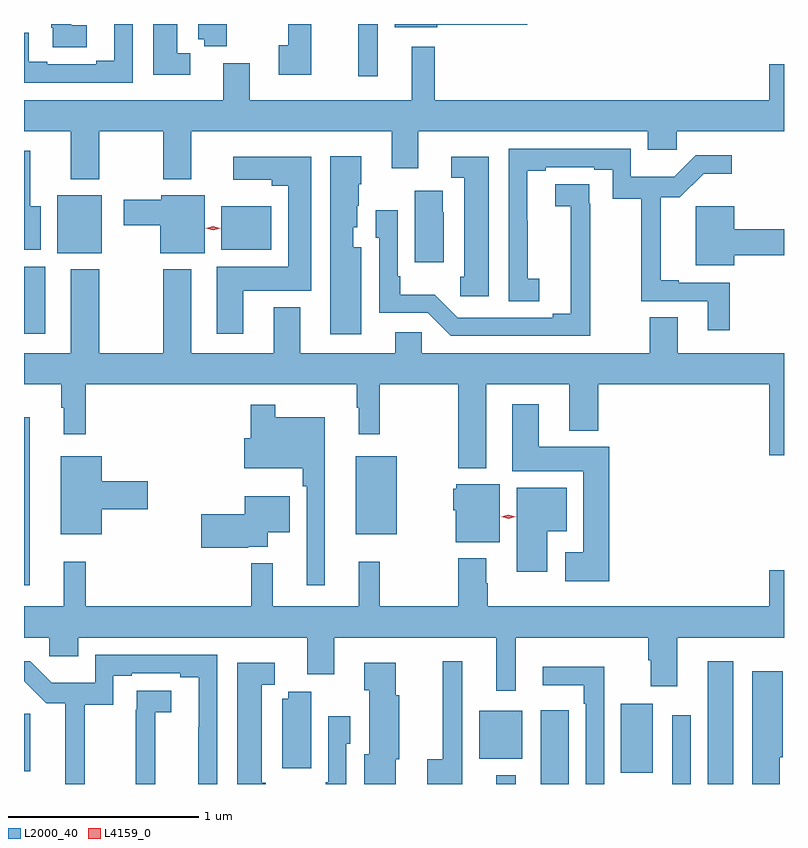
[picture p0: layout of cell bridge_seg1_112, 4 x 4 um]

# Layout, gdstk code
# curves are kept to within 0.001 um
import gdstk
lib = gdstk.Library(unit=1e-6, precision=1e-09)
def R(c, l, rs):  # rectangles x0, y0, x1, y1
    for r in rs: c.add(gdstk.rectangle(r[:2], r[2:], *l))
def P(c, l, *ps):  # polygons
    for p in ps: c.add(gdstk.Polygon(p, *l))
L2000_40 = (2000, 40)
L4159_0 = (4159, 0)

bridge_seg1_112 = lib.new_cell('bridge_seg1_112')
R(bridge_seg1_112, L2000_40, [(127.607,544.301,127.711,544.348), (127.841,544.301,127.99,544.69), (128.535,544.301,128.631,544.663), (128.72,544.301,128.854,544.948), (128.264,544.36,128.431,544.723), (125.122,544.367,125.155,544.672), (127.517,544.433,127.744,544.687), (125.122,545.346,125.152,546.232), (126.869,545.615,127.084,546.025), (125.122,546.672,125.233,547.024), (125.297,547.094,125.53,547.399), (126.161,547.112,126.424,547.342), (126.881,548.025,126.985,548.301)])
P(bridge_seg1_112, L2000_40, [(126.634,548.301),(126.512,548.301),(126.512,548.19),(126.462,548.19),(126.462,548.034),(126.634,548.034)],
  [(127.296,548.296),(127.771,548.296),(127.771,548.301),(127.073,548.301),(127.073,548.285),(127.296,548.285)],
  [(125.452,548.294),(125.37,548.294),(125.37,548.301),(125.266,548.301),(125.266,548.281),(125.272,548.281),(125.272,548.179),(125.452,548.179)],
  [(125.694,548.301),(125.597,548.301),(125.597,548.108),(125.501,548.108),(125.501,548.088),(125.245,548.088),(125.245,548.102),(125.148,548.102),(125.148,548.255),(125.122,548.255),(125.122,547.992),(125.694,547.992)],
  [(126.19,548.301),(126.038,548.301),(126.038,548.222),(126.07,548.222),(126.07,548.185),(126.19,548.185)],
  [(125.998,548.148),(125.929,548.148),(125.929,548.301),(125.801,548.301),(125.801,548.033),(125.998,548.033)],
  [(125.517,547.736),(125.854,547.736),(125.854,547.484),(126.001,547.484),(126.001,547.736),(127.058,547.736),(127.058,547.542),(127.198,547.542),(127.198,547.736),(128.405,547.736),(128.405,547.638),(128.557,547.638),(128.557,547.736),(129.122,547.736),(129.122,548.089),(129.044,548.089),(129.044,547.9),(127.285,547.9),(127.285,548.182),(127.163,548.182),(127.163,547.9),(126.31,547.9),(126.31,548.095),(126.17,548.095),(126.17,547.9),(125.122,547.9),(125.122,547.736),(125.369,547.736),(125.369,547.484),(125.517,547.484)],
  [(128.837,546.939),(128.569,546.939),(128.569,546.952),(128.474,546.952),(128.474,547.389),(128.573,547.389),(128.699,547.514),(128.848,547.514),(128.848,547.611),(128.658,547.611),(128.545,547.498),(128.316,547.498),(128.316,547.644),(127.674,547.644),(127.674,546.841),(127.834,546.841),(127.834,546.961),(127.773,546.961),(127.773,547.265),(127.771,547.265),(127.771,547.528),(127.867,547.528),(127.867,547.548),(128.123,547.548),(128.123,547.534),(128.22,547.534),(128.22,547.381),(128.371,547.381),(128.371,546.843),(128.72,546.843),(128.72,546.69),(128.837,546.69)],
  [(125.209,547.342),(125.155,547.342),(125.155,547.633),(125.122,547.633),(125.122,547.112),(125.209,547.112)],
  [(126.898,547.126),(126.856,547.126),(126.856,547.23),(126.877,547.23),(126.877,547.344),(126.885,547.344),(126.885,547.458),(126.898,547.458),(126.898,547.606),(126.734,547.606),(126.734,546.669),(126.898,546.669)],
  [(126.277,546.896),(126.634,546.896),(126.634,547.603),(126.222,547.603),(126.222,547.481),(126.425,547.481),(126.425,547.451),(126.512,547.451),(126.512,547.024),(126.137,547.024),(126.137,546.672),(126.277,546.672)],
  [(127.567,547.603),(127.371,547.603),(127.371,547.491),(127.439,547.491),(127.439,546.972),(127.417,546.972),(127.417,546.867),(127.567,546.867)],
  [(128.102,547.355),(128.096,547.355),(128.096,547.457),(127.917,547.457),(127.917,547.342),(127.999,547.342),(128,546.776),(127.904,546.776),(127.904,546.756),(127.404,546.756),(127.283,546.877),(127.102,546.877),(127.102,546.973),(127.089,546.973),(127.089,547.321),(126.972,547.321),(126.972,547.176),(126.993,547.176),(126.993,546.78),(127.248,546.78),(127.368,546.66),(128.102,546.66)],
  [(127.33,547.31),(127.327,547.31),(127.327,547.423),(127.178,547.423),(127.178,547.047),(127.33,547.047)],
  [(126.073,547.399),(125.844,547.399),(125.844,547.375),(125.646,547.375),(125.646,547.241),(125.84,547.241),(125.84,547.094),(126.073,547.094)],
  [(128.86,547.084),(129.122,547.084),(129.122,547.22),(128.86,547.22),(128.86,547.341),(128.657,547.341),(128.657,547.031),(128.86,547.031)],
  [(127.555,546.404),(127.991,546.404),(127.991,546.161),(128.144,546.161),(128.144,546.404),(129.044,546.404),(129.044,546.03),(129.122,546.03),(129.122,546.568),(128.563,546.568),(128.563,546.758),(128.416,546.758),(128.416,546.568),(127.215,546.568),(127.215,546.678),(127.076,546.678),(127.076,546.568),(126.577,546.568),(126.577,546.811),(126.437,546.811),(126.437,546.568),(126.001,546.568),(126.001,547.009),(125.854,547.009),(125.854,546.568),(125.517,546.568),(125.517,547.009),(125.369,547.009),(125.369,546.568),(125.122,546.568),(125.122,546.404),(125.319,546.404),(125.319,546.281),(125.33,546.281),(125.33,546.141),(125.447,546.141),(125.447,546.404),(126.873,546.404),(126.873,546.281),(126.884,546.281),(126.884,546.141),(126.994,546.141),(126.994,546.404),(127.408,546.404),(127.408,545.963),(127.555,545.963)],
  [(128.201,546.076),(127.831,546.076),(127.831,546.301),(127.691,546.301),(127.691,545.948),(128.066,545.948),(128.066,545.521),(127.971,545.521),(127.971,545.369),(128.201,545.369)],
  [(126.706,546.232),(126.445,546.232),(126.445,546.298),(126.316,546.298),(126.316,546.121),(126.282,546.121),(126.282,545.963),(126.589,545.963),(126.589,545.867),(126.609,545.867),(126.609,545.346),(126.706,545.346)],
  [(125.53,545.747),(125.773,545.747),(125.773,545.894),(125.53,545.894),(125.53,546.025),(125.315,546.025),(125.315,545.615),(125.53,545.615)],
  [(127.627,545.878),(127.398,545.878),(127.398,545.856),(127.382,545.856),(127.382,545.742),(127.394,545.742),(127.394,545.573),(127.627,545.573)],
  [(127.876,545.63),(127.978,545.63),(127.978,545.86),(127.715,545.86),(127.715,545.418),(127.876,545.418)],
  [(126.302,545.549),(126.406,545.549),(126.406,545.627),(126.52,545.627),(126.52,545.815),(126.284,545.815),(126.284,545.72),(126.054,545.72),(126.054,545.544),(126.302,545.544)],
  [(127.563,545.357),(127.555,545.357),(127.555,545.488),(127.408,545.488),(127.408,545.236),(126.994,545.236),(126.994,545.47),(126.884,545.47),(126.884,545.236),(126.431,545.236),(126.431,545.464),(126.317,545.464),(126.317,545.236),(125.447,545.236),(125.447,545.47),(125.33,545.47),(125.33,545.236),(125.122,545.236),(125.122,545.072),(125.256,545.072),(125.256,544.974),(125.407,544.974),(125.407,545.072),(126.614,545.072),(126.614,544.878),(126.754,544.878),(126.754,545.072),(127.607,545.072),(127.607,544.791),(127.711,544.791),(127.711,545.072),(128.408,545.072),(128.408,544.952),(128.42,544.952),(128.42,544.815),(128.56,544.815),(128.56,545.072),(129.122,545.072),(129.122,545.425),(129.044,545.425),(129.044,545.236),(127.563,545.236)],
  [(125.441,544.717),(125.592,544.717),(125.592,544.87),(125.689,544.87),(125.689,544.884),(125.945,544.884),(125.945,544.864),(126.041,544.864),(126.04,544.301),(126.138,544.301),(126.138,544.98),(125.496,544.98),(125.496,544.834),(125.267,544.834),(125.154,544.947),(125.122,544.947),(125.122,544.841),(125.239,544.725),(125.339,544.725),(125.339,544.301),(125.441,544.301)],
  [(127.429,544.948),(127.325,544.948),(127.325,544.432),(127.244,544.432),(127.244,544.301),(127.429,544.301)],
  [(126.395,544.308),(126.373,544.308),(126.373,544.824),(126.442,544.824),(126.442,544.939),(126.245,544.939),(126.245,544.301),(126.395,544.301)],
  [(127.078,544.431),(127.096,544.431),(127.096,544.767),(127.078,544.767),(127.078,544.939),(126.914,544.939),(126.914,544.794),(126.938,544.794),(126.938,544.458),(126.914,544.458),(126.914,544.301),(127.078,544.301)],
  [(128.175,544.918),(127.851,544.918),(127.851,544.82),(128.067,544.82),(128.067,544.724),(128.079,544.724),(128.079,544.301),(128.175,544.301)],
  [(129.1,544.442),(129.115,544.442),(129.115,544.894),(128.954,544.894),(128.954,544.301),(129.1,544.301)],
  [(125.812,544.395),(125.814,544.395),(125.814,544.678),(125.896,544.678),(125.896,544.793),(125.716,544.793),(125.716,544.691),(125.71,544.691),(125.71,544.301),(125.812,544.301)],
  [(126.634,544.787),(126.514,544.787),(126.514,544.75),(126.482,544.75),(126.482,544.383),(126.634,544.383)],
  [(126.819,544.512),(126.84,544.512),(126.84,544.657),(126.723,544.657),(126.723,544.309),(126.711,544.309),(126.711,544.301),(126.819,544.301)])
P(bridge_seg1_112, L4159_0, [(127.672,545.698),(127.634,545.707),(127.634,545.708),(127.634,545.708),(127.671,545.718),(127.708,545.708),(127.709,545.708),(127.708,545.708)],
  [(126.118,547.216),(126.079,547.226),(126.079,547.226),(126.079,547.226),(126.118,547.236),(126.156,547.226),(126.156,547.226),(126.156,547.226)])

lib.write_gds('bridge_seg1_112.gds')
